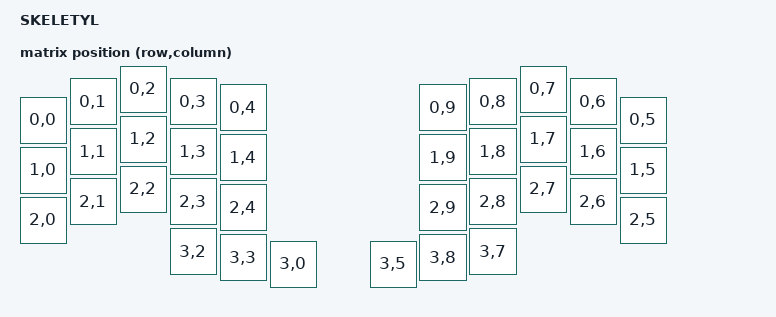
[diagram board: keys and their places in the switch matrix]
#include <nordic/nrf52840_qiaa.dtsi>
#include <dt-bindings/zmk/matrix_transform.h>
#include <physical_layouts.dtsi>

/ {
    model = "SKELETYL";
    compatible = "skeletyl";

    chosen {
        zephyr,code-partition = &code_partition;
        zephyr,sram = &sram0;
        zephyr,flash = &flash0;
        zephyr,console = &cdc_acm_uart;
        zephyr,shell-uart = &cdc_acm_uart;
        zmk,kscan = &kscan0;
        zmk,battery = &vbatt;
        zmk,underglow = &led_strip;
        zmk,physical-layout = &skeletyl_5col_layout;
    };

    vbatt: vbatt {
  		compatible = "zmk,battery-voltage-divider";
  		io-channels = <&adc 2>; // could be adc 1
  		output-ohms = <2000000>;
  		full-ohms = <(2000000 + 806000)>;
  	};

    default_transform: keymap_transform_0 {
        compatible = "zmk,matrix-transform";
        columns = <10>;
        rows = <4>;

        map = <
RC(0,0) RC(0,1) RC(0,2) RC(0,3) RC(0,4)                 RC(0,9) RC(0,8) RC(0,7) RC(0,6) RC(0,5)
RC(1,0) RC(1,1) RC(1,2) RC(1,3) RC(1,4)                 RC(1,9) RC(1,8) RC(1,7) RC(1,6) RC(1,5)
RC(2,0) RC(2,1) RC(2,2) RC(2,3) RC(2,4)                 RC(2,9) RC(2,8) RC(2,7) RC(2,6) RC(2,5)
                RC(3,2) RC(3,3) RC(3,0)                 RC(3,5) RC(3,8) RC(3,7)
        >;
    };


    kscan0: kscan {
        diode-direction = "row2col";

    };

    skeletyl_5col_layout: skeletyl_5col_layout {
        compatible = "zmk,physical-layout";
        display-name = "Sekeletyl 5 Column";

        transform = <&default_transform>;

        keys  //                     w   h    x    y     rot    rx    ry
            = <&key_physical_attrs 100 100    0   62       0     0     0>
            , <&key_physical_attrs 100 100  100   25       0     0     0>
            , <&key_physical_attrs 100 100  200    0       0     0     0>
            , <&key_physical_attrs 100 100  300   25       0     0     0>
            , <&key_physical_attrs 100 100  400   37       0     0     0>
            , <&key_physical_attrs 100 100  800   37       0     0     0>
            , <&key_physical_attrs 100 100  900   25       0     0     0>
            , <&key_physical_attrs 100 100 1000    0       0     0     0>
            , <&key_physical_attrs 100 100 1100   25       0     0     0>
            , <&key_physical_attrs 100 100 1200   62       0     0     0>
            , <&key_physical_attrs 100 100    0  162       0     0     0>
            , <&key_physical_attrs 100 100  100  125       0     0     0>
            , <&key_physical_attrs 100 100  200  100       0     0     0>
            , <&key_physical_attrs 100 100  300  125       0     0     0>
            , <&key_physical_attrs 100 100  400  137       0     0     0>
            , <&key_physical_attrs 100 100  800  137       0     0     0>
            , <&key_physical_attrs 100 100  900  125       0     0     0>
            , <&key_physical_attrs 100 100 1000  100       0     0     0>
            , <&key_physical_attrs 100 100 1100  125       0     0     0>
            , <&key_physical_attrs 100 100 1200  162       0     0     0>
            , <&key_physical_attrs 100 100    0  262       0     0     0>
            , <&key_physical_attrs 100 100  100  225       0     0     0>
            , <&key_physical_attrs 100 100  200  200       0     0     0>
            , <&key_physical_attrs 100 100  300  225       0     0     0>
            , <&key_physical_attrs 100 100  400  237       0     0     0>
            , <&key_physical_attrs 100 100  800  237       0     0     0>
            , <&key_physical_attrs 100 100  900  225       0     0     0>
            , <&key_physical_attrs 100 100 1000  200       0     0     0>
            , <&key_physical_attrs 100 100 1100  225       0     0     0>
            , <&key_physical_attrs 100 100 1200  262       0     0     0>
            , <&key_physical_attrs 100 100  300  325       0     0     0>
            , <&key_physical_attrs 100 100  400  337       0     0     0>
            , <&key_physical_attrs 100 100  500  350       0     0     0>
            , <&key_physical_attrs 100 100  700  350       0     0     0>
            , <&key_physical_attrs 100 100  800  337       0     0     0>
            , <&key_physical_attrs 100 100  900  325       0     0     0>
            ;
    };

    skeletyl_position_map {
        compatible = "zmk,physical-layout-position-map";

        complete;

        twelve {
            physical-layout = <&skeletyl_5col_layout>;
            positions
                = < 0  1  2  3  4  5  6  7  8  9>
                , <10 11 12 13 14 15 16 17 18 19>
                , <20 21 22 23 24 25 26 27 28 29>
                , <      30 31 32 33 34 35      >
                ;
        };
    };
};

&gpio0 {
    status = "okay";
};

&gpio1 {
    status = "okay";
};

&adc {
    status = "okay";
};

&pinctrl {
    uart0_default: uart0_default {
        group1 {
            psels = <NRF_PSEL(UART_RX, 0, 4)>;
            bias-pull-up;
        };
        group2 {
            psels = <NRF_PSEL(UART_TX, 0, 8)>;
        };
    };

    uart0_sleep: uart0_sleep {
        group1 {
            psels = <NRF_PSEL(UART_RX, 0, 4)>,
                    <NRF_PSEL(UART_TX, 0, 8)>;
            low-power-enable;
        };
    };
};

&uart0 {
    compatible = "nordic,nrf-uarte";
    current-speed = <115200>;
    pinctrl-0 = <&uart0_default>;
    pinctrl-1 = <&uart0_sleep>;
    pinctrl-names = "default", "sleep";
};
 
zephyr_udc0: &usbd {
    status = "okay";
};

&usbd {
    status = "okay";
    cdc_acm_uart: cdc_acm_uart {
        compatible = "zephyr,cdc-acm-uart";
    };
};

&pwm0 {
    status = "okay";
};

&flash0 {
  partitions {
    compatible = "fixed-partitions";
    #address-cells = <1>;
    #size-cells = <1>;

    sd_partition: partition@0 {
      label = "mbr";
      reg = <0x00000000 0x00001000>;
    };
    code_partition: partition@1000 {
      label = "code_partition";
      reg = <0x00001000 0x000d3000>;
    };
    storage_partition: partition@ec000 {
      label = "storage";
      reg = <0x000ec000 0x00008000>;
    };
    boot_partition: partition@f4000 {
      label = "adafruit_boot";
      reg = <0x000f4000 0x0000c000>;
    };
  };
};
